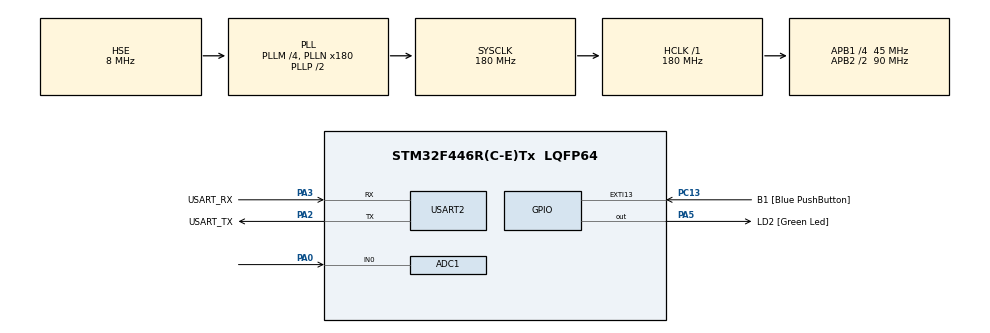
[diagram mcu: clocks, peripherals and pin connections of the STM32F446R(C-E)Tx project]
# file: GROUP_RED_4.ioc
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ADC1.Channel-0\#ChannelRegularConversion=ADC_CHANNEL_0
ADC1.DMAContinuousRequests=ENABLE
ADC1.ExternalTrigConv=ADC_EXTERNALTRIGCONV_T2_TRGO
ADC1.NbrOfConversionFlag=1
ADC1.Rank-0\#ChannelRegularConversion=1
ADC1.SamplingTime-0\#ChannelRegularConversion=ADC_SAMPLETIME_56CYCLES
ADC1.master=1
Dma.ADC1.0.Direction=DMA_PERIPH_TO_MEMORY
Dma.ADC1.0.FIFOMode=DMA_FIFOMODE_DISABLE
Dma.ADC1.0.Instance=DMA2_Stream0
Dma.ADC1.0.MemDataAlignment=DMA_MDATAALIGN_HALFWORD
Dma.ADC1.0.MemInc=DMA_MINC_ENABLE
Dma.ADC1.0.Mode=DMA_CIRCULAR
Dma.ADC1.0.PeriphDataAlignment=DMA_PDATAALIGN_HALFWORD
Dma.ADC1.0.PeriphInc=DMA_PINC_DISABLE
Dma.ADC1.0.Priority=DMA_PRIORITY_LOW
Dma.Request0=ADC1
Mcu.Family=STM32F4
Mcu.Name=STM32F446R(C-E)Tx
Mcu.Package=LQFP64
NVIC.DMA2_Stream0_IRQn=true\:0\:0\:false\:false\:true\:false\:true\:true
NVIC.PriorityGroup=NVIC_PRIORITYGROUP_0
PA0-WKUP.Signal=ADCx_IN0
PA13.GPIO_Label=TMS
PA13.Mode=Serial_Wire
PA13.Signal=SYS_JTMS-SWDIO
PA14.GPIO_Label=TCK
PA14.Mode=Serial_Wire
PA14.Signal=SYS_JTCK-SWCLK
PA2.GPIO_Label=USART_TX
PA2.Mode=Asynchronous
PA2.Signal=USART2_TX
PA3.GPIO_Label=USART_RX
PA3.Mode=Asynchronous
PA3.Signal=USART2_RX
PA5.GPIO_Label=LD2 [Green Led]
PA5.Signal=GPIO_Output
PB3.GPIO_Label=SWO
PB3.Signal=SYS_JTDO-SWO
PC13.GPIO_Label=B1 [Blue PushButton]
PC13.GPIO_ModeDefaultEXTI=GPIO_MODE_IT_FALLING
PC13.Signal=GPXTI13
PC14-OSC32_IN.Mode=LSE-External-Oscillator
PC14-OSC32_IN.Signal=RCC_OSC32_IN
PC15-OSC32_OUT.Mode=LSE-External-Oscillator
PC15-OSC32_OUT.Signal=RCC_OSC32_OUT
PH0-OSC_IN.Mode=HSE-External-Clock-Source
PH0-OSC_IN.Signal=RCC_OSC_IN
PH1-OSC_OUT.Mode=HSE-External-Clock-Source
PH1-OSC_OUT.Signal=RCC_OSC_OUT
ProjectManager.HeapSize=0x200
ProjectManager.StackSize=0x400
ProjectManager.TargetToolchain=STM32CubeIDE
RCC.48MHZClocksFreq_Value=84000000
RCC.AHBFreq_Value=180000000
RCC.APB1CLKDivider=RCC_HCLK_DIV4
RCC.APB1Freq_Value=45000000
RCC.APB1TimFreq_Value=90000000
RCC.APB2CLKDivider=RCC_HCLK_DIV2
RCC.APB2Freq_Value=90000000
RCC.APB2TimFreq_Value=180000000
RCC.CortexFreq_Value=180000000
RCC.FLatency-AdvancedSettings=FLASH_LATENCY_5
RCC.HCLKFreq_Value=180000000
RCC.HSE_VALUE=8000000
RCC.HSI_VALUE=16000000
RCC.PLLM=4
RCC.PLLN=180
RCC.PLLSourceVirtual=RCC_PLLSOURCE_HSE
RCC.SYSCLKFreq_VALUE=180000000
RCC.SYSCLKSource=RCC_SYSCLKSOURCE_PLLCLK
RCC.USBFreq_Value=180000000
RCC.VCOOutputFreq_Value=360000000
SH.ADCx_IN0.0=ADC1_IN0,IN0
TIM2.Period=49
TIM2.Prescaler=89
TIM2.TIM_MasterOutputTrigger=TIM_TRGO_UPDATE
USART2.VirtualMode=VM_ASYNC
VP_TIM2_VS_ClockSourceINT.Mode=Internal
board=NUCLEO-F446RE

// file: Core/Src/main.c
/* USER CODE BEGIN Header */
/**
  ******************************************************************************
  * @file           : main.c
  * @brief          : Main program body
  ******************************************************************************
  * @attention
  *
  * Copyright (c) 2026 STMicroelectronics.
  * All rights reserved.
  *
  * This software is licensed under terms that can be found in the LICENSE file
  * in the root directory of this software component.
  * If no LICENSE file comes with this software, it is provided AS-IS.
  *
  ******************************************************************************
  */
/* USER CODE END Header */
#include "main.h"

ADC_HandleTypeDef hadc1;
DMA_HandleTypeDef hdma_adc1;

TIM_HandleTypeDef htim2;

UART_HandleTypeDef huart2;

/* USER CODE BEGIN PV */
#define BUF_LEN 256
uint16_t adc_buf[BUF_LEN];
volatile uint8_t half_ready = 0, full_ready = 0;
/* USER CODE END PV */

void SystemClock_Config(void);
static void MX_GPIO_Init(void);
static void MX_DMA_Init(void);
static void MX_USART2_UART_Init(void);
static void MX_ADC1_Init(void);
static void MX_TIM2_Init(void);
/* USER CODE BEGIN PFP */
void process(uint16_t *buf, uint16_t len);
/* USER CODE END PFP */

int main(void)
{

  /* MCU Configuration--------------------------------------------------------*/

  /* Reset of all peripherals, Initializes the Flash interface and the Systick. */
  HAL_Init();

  /* Configure the system clock */
  SystemClock_Config();

  /* Initialize all configured peripherals */
  MX_GPIO_Init();
  MX_DMA_Init();
  MX_USART2_UART_Init();
  MX_ADC1_Init();
  MX_TIM2_Init();
  /* USER CODE BEGIN 2 */
HAL_ADC_Start_DMA(&hadc1, (uint32_t*)adc_buf, BUF_LEN);
HAL_TIM_Base_Start(&htim2);
  /* USER CODE END 2 */

  /* Infinite loop */
  while (1)
  {

    /* USER CODE BEGIN 3 */
if (half_ready) { half_ready = 0; process(&adc_buf[0], BUF_LEN/2); }
if (full_ready) { full_ready = 0; process(&adc_buf[BUF_LEN/2], BUF_LEN/2); }
  }
  /* USER CODE END 3 */
}

void SystemClock_Config(void)
{
  RCC_OscInitTypeDef RCC_OscInitStruct = {0};
  RCC_ClkInitTypeDef RCC_ClkInitStruct = {0};

  /** Configure the main internal regulator output voltage
  */
  __HAL_RCC_PWR_CLK_ENABLE();
  __HAL_PWR_VOLTAGESCALING_CONFIG(PWR_REGULATOR_VOLTAGE_SCALE1);

  /** Initializes the RCC Oscillators according to the specified parameters
  * in the RCC_OscInitTypeDef structure.
  */
  RCC_OscInitStruct.OscillatorType = RCC_OSCILLATORTYPE_HSE;
  RCC_OscInitStruct.HSEState = RCC_HSE_BYPASS;
  RCC_OscInitStruct.PLL.PLLState = RCC_PLL_ON;
  RCC_OscInitStruct.PLL.PLLSource = RCC_PLLSOURCE_HSE;
  RCC_OscInitStruct.PLL.PLLM = 4;
  RCC_OscInitStruct.PLL.PLLN = 180;
  RCC_OscInitStruct.PLL.PLLP = RCC_PLLP_DIV2;
  RCC_OscInitStruct.PLL.PLLQ = 2;
  RCC_OscInitStruct.PLL.PLLR = 2;
  if (HAL_RCC_OscConfig(&RCC_OscInitStruct) != HAL_OK)
  {
    Error_Handler();
  }

  /** Activate the Over-Drive mode
  */
  if (HAL_PWREx_EnableOverDrive() != HAL_OK)
  {
    Error_Handler();
  }

  /** Initializes the CPU, AHB and APB buses clocks
  */
  RCC_ClkInitStruct.ClockType = RCC_CLOCKTYPE_HCLK|RCC_CLOCKTYPE_SYSCLK
                              |RCC_CLOCKTYPE_PCLK1|RCC_CLOCKTYPE_PCLK2;
  RCC_ClkInitStruct.SYSCLKSource = RCC_SYSCLKSOURCE_PLLCLK;
  RCC_ClkInitStruct.AHBCLKDivider = RCC_SYSCLK_DIV1;
  RCC_ClkInitStruct.APB1CLKDivider = RCC_HCLK_DIV4;
  RCC_ClkInitStruct.APB2CLKDivider = RCC_HCLK_DIV2;

  if (HAL_RCC_ClockConfig(&RCC_ClkInitStruct, FLASH_LATENCY_5) != HAL_OK)
  {
    Error_Handler();
  }
}

static void MX_ADC1_Init(void)
{

  ADC_ChannelConfTypeDef sConfig = {0};

  /** Configure the global features of the ADC (Clock, Resolution, Data Alignment and number of conversion)
  */
  hadc1.Instance = ADC1;
  hadc1.Init.ClockPrescaler = ADC_CLOCK_SYNC_PCLK_DIV4;
  hadc1.Init.Resolution = ADC_RESOLUTION_12B;
  hadc1.Init.ScanConvMode = DISABLE;
  hadc1.Init.ContinuousConvMode = DISABLE;
  hadc1.Init.DiscontinuousConvMode = DISABLE;
  hadc1.Init.ExternalTrigConvEdge = ADC_EXTERNALTRIGCONVEDGE_RISING;
  hadc1.Init.ExternalTrigConv = ADC_EXTERNALTRIGCONV_T2_TRGO;
  hadc1.Init.DataAlign = ADC_DATAALIGN_RIGHT;
  hadc1.Init.NbrOfConversion = 1;
  hadc1.Init.DMAContinuousRequests = ENABLE;
  hadc1.Init.EOCSelection = ADC_EOC_SINGLE_CONV;
  if (HAL_ADC_Init(&hadc1) != HAL_OK)
  {
    Error_Handler();
  }

  /** Configure for the selected ADC regular channel its corresponding rank in the sequencer and its sample time.
  */
  sConfig.Channel = ADC_CHANNEL_0;
  sConfig.Rank = 1;
  sConfig.SamplingTime = ADC_SAMPLETIME_56CYCLES;
  if (HAL_ADC_ConfigChannel(&hadc1, &sConfig) != HAL_OK)
  {
    Error_Handler();
  }

}

static void MX_TIM2_Init(void)
{

  TIM_ClockConfigTypeDef sClockSourceConfig = {0};
  TIM_MasterConfigTypeDef sMasterConfig = {0};

  htim2.Instance = TIM2;
  htim2.Init.Prescaler = 89;
  htim2.Init.CounterMode = TIM_COUNTERMODE_UP;
  htim2.Init.Period = 49;
  htim2.Init.ClockDivision = TIM_CLOCKDIVISION_DIV1;
  htim2.Init.AutoReloadPreload = TIM_AUTORELOAD_PRELOAD_DISABLE;
  if (HAL_TIM_Base_Init(&htim2) != HAL_OK)
  {
    Error_Handler();
  }
  sClockSourceConfig.ClockSource = TIM_CLOCKSOURCE_INTERNAL;
  if (HAL_TIM_ConfigClockSource(&htim2, &sClockSourceConfig) != HAL_OK)
  {
    Error_Handler();
  }
  sMasterConfig.MasterOutputTrigger = TIM_TRGO_UPDATE;
  sMasterConfig.MasterSlaveMode = TIM_MASTERSLAVEMODE_DISABLE;
  if (HAL_TIMEx_MasterConfigSynchronization(&htim2, &sMasterConfig) != HAL_OK)
  {
    Error_Handler();
  }

}

static void MX_USART2_UART_Init(void)
{

  huart2.Instance = USART2;
  huart2.Init.BaudRate = 115200;
  huart2.Init.WordLength = UART_WORDLENGTH_8B;
  huart2.Init.StopBits = UART_STOPBITS_1;
  huart2.Init.Parity = UART_PARITY_NONE;
  huart2.Init.Mode = UART_MODE_TX_RX;
  huart2.Init.HwFlowCtl = UART_HWCONTROL_NONE;
  huart2.Init.OverSampling = UART_OVERSAMPLING_16;
  if (HAL_UART_Init(&huart2) != HAL_OK)
  {
    Error_Handler();
  }

}

static void MX_DMA_Init(void)
{

  /* DMA controller clock enable */
  __HAL_RCC_DMA2_CLK_ENABLE();

  /* DMA interrupt init */
  /* DMA2_Stream0_IRQn interrupt configuration */
  HAL_NVIC_SetPriority(DMA2_Stream0_IRQn, 0, 0);
  HAL_NVIC_EnableIRQ(DMA2_Stream0_IRQn);

}

static void MX_GPIO_Init(void)
{
  GPIO_InitTypeDef GPIO_InitStruct = {0};

  /* GPIO Ports Clock Enable */
  __HAL_RCC_GPIOC_CLK_ENABLE();
  __HAL_RCC_GPIOH_CLK_ENABLE();
  __HAL_RCC_GPIOA_CLK_ENABLE();
  __HAL_RCC_GPIOB_CLK_ENABLE();

  /*Configure GPIO pin Output Level */
  HAL_GPIO_WritePin(LD2_GPIO_Port, LD2_Pin, GPIO_PIN_RESET);

  /*Configure GPIO pin : B1_Pin */
  GPIO_InitStruct.Pin = B1_Pin;
  GPIO_InitStruct.Mode = GPIO_MODE_IT_FALLING;
  GPIO_InitStruct.Pull = GPIO_NOPULL;
  HAL_GPIO_Init(B1_GPIO_Port, &GPIO_InitStruct);

  /*Configure GPIO pin : LD2_Pin */
  GPIO_InitStruct.Pin = LD2_Pin;
  GPIO_InitStruct.Mode = GPIO_MODE_OUTPUT_PP;
  GPIO_InitStruct.Pull = GPIO_NOPULL;
  GPIO_InitStruct.Speed = GPIO_SPEED_FREQ_LOW;
  HAL_GPIO_Init(LD2_GPIO_Port, &GPIO_InitStruct);

}

/* USER CODE BEGIN 4 */
void HAL_ADC_ConvHalfCpltCallback(ADC_HandleTypeDef *h) { half_ready = 1; }
void HAL_ADC_ConvCpltCallback(ADC_HandleTypeDef *h) { full_ready = 1; }

volatile uint16_t peak_level = 0;
volatile uint8_t led_count = 0;

void process(uint16_t *buf, uint16_t len)
{
	uint16_t peak = 0;
	for (uint16_t i = 0; i< len; i++){
		int16_t s = (int16_t)buf[i] - 2048;
		uint16_t a = (s<0) ? -s : s;
		if (a>peak) peak = a;
	}
	peak_level = peak;
	led_count = (peak *16)/2048;
}
/* USER CODE END 4 */

void Error_Handler(void)
{
  __disable_irq();
  while (1)
  {
  }
}
